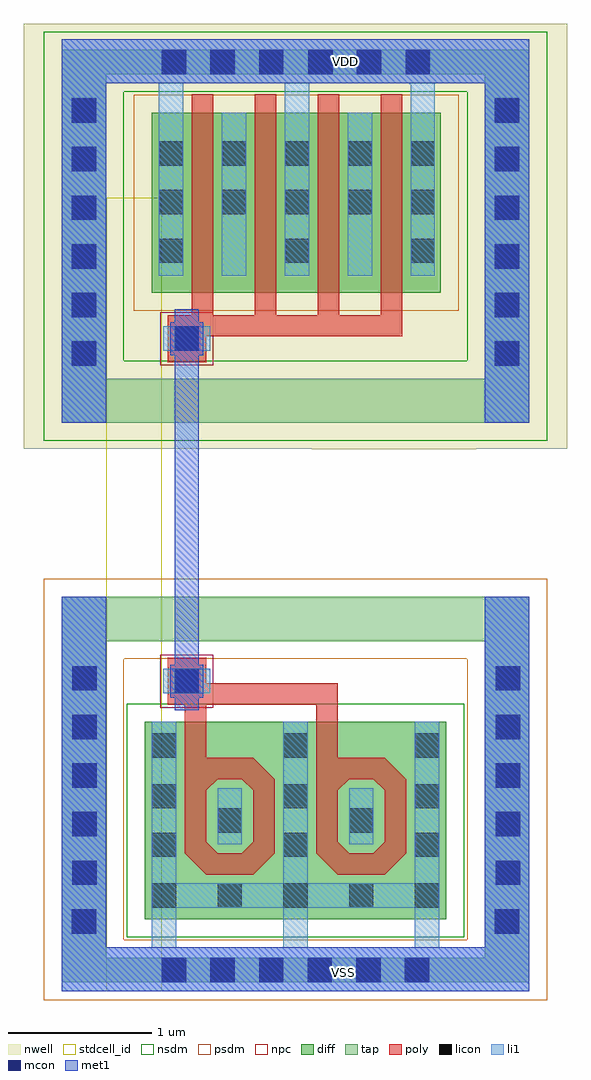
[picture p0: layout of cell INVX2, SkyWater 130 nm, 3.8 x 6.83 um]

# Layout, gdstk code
from math import pi, radians
import gdstk
lib = gdstk.Library(unit=1e-6, precision=1e-09)
def R(c, l, rs):  # rectangles x0, y0, x1, y1
    for r in rs: c.add(gdstk.rectangle(r[:2], r[2:], *l))
def A(c, l, x, y, w, h, nx, ny, dx, dy):  # array of equal rectangles
    R(c, l, [(x+i*dx, y+j*dy, x+i*dx+w, y+j*dy+h) for i in range(nx) for j in range(ny)])
def P(c, l, *ps):  # polygons
    for p in ps: c.add(gdstk.Polygon(p, *l))
nwell = (64, 20)
diff = (65, 20)
tap = (65, 44)
poly = (66, 20)
licon = (66, 44)
li1 = (67, 20)
mcon = (67, 44)
met1 = (68, 20)
stdcell_id = (81, 4)
nsdm = (93, 44)
psdm = (94, 20)
npc = (95, 20)

m1_m2_contact = lib.new_cell('M1_M2_contact')
R(m1_m2_contact, poly, [(0.35,1.995,0.62,2.325)])
R(m1_m2_contact, licon, [(0.4,2.075,0.57,2.245)])
R(m1_m2_contact, li1, [(0.32,2.075,0.65,2.245)])
R(m1_m2_contact, mcon, [(0.4,2.075,0.57,2.245)])
R(m1_m2_contact, met1, [(0.4,1.955,0.57,2.045), (0.37,2.045,0.6,2.275), (0.4,2.275,0.57,2.365)])
R(m1_m2_contact, npc, [(0.3,1.975,0.67,2.345)])

nmos_top_left = lib.new_cell('nmos_top_left')
R(nmos_top_left, diff, [(-0.225,-0.32,0.965,1.06)])
R(nmos_top_left, poly, [(0.205,-0.01,0.535,0.14), (0.055,0.14,0.205,0.66), (0.535,0.14,0.685,0.66), (0.055,0.66,0.535,0.81), (0.055,0.81,0.205,1.19)])
P(nmos_top_left, poly, [(0.535,0.81),(0.535,0.66),(0.685,0.66)],
  [(0.205,0.58),(0.205,0.66),(0.285,0.66)],
  [(0.455,0.66),(0.535,0.66),(0.535,0.58)],
  [(0.205,0.22),(0.205,0.14),(0.285,0.14)],
  [(0.455,0.14),(0.535,0.14),(0.535,0.22)],
  [(0.055,0.14),(0.205,0.14),(0.205,-0.01)],
  [(0.535,-0.01),(0.535,0.14),(0.685,0.14)])
A(nmos_top_left, licon, -0.175, -0.24, 0.17, 0.17, 3, 1, 0.46, 0)
R(nmos_top_left, licon, [(-0.175,0.115,-0.005,0.285), (0.745,0.115,0.915,0.285), (0.285,0.285,0.455,0.455), (-0.175,0.455,-0.005,0.625), (0.745,0.455,0.915,0.625), (-0.175,0.81,-0.005,0.98), (0.745,0.81,0.915,0.98)])
R(nmos_top_left, li1, [(-0.175,-0.32,-0.005,-0.24), (0.745,-0.32,0.915,-0.24), (-0.175,-0.24,0.915,-0.07), (-0.175,-0.07,-0.005,1.06), (0.745,-0.07,0.915,1.06), (0.285,0.205,0.455,0.595)])
R(nmos_top_left, nsdm, [(-0.35,-0.445,1.09,1.185)])

pmos = lib.new_cell('pmos')
R(pmos, nwell, [(-0.18,-1.435,1.32,0.185)])
R(pmos, diff, [(0,-1.255,1.14,0.005)])
R(pmos, poly, [(0.28,-1.56,0.87,-1.41), (0.28,-1.41,0.43,0.135), (0.72,-1.41,0.87,0.135)])
A(pmos, licon, 0.05, -0.705, 0.17, 0.17, 3, 2, 0.44, 0.34)
R(pmos, licon, [(0.05,-1.045,0.22,-0.875), (0.93,-1.045,1.1,-0.875)])
R(pmos, li1, [(0.05,-1.135,0.22,0.21), (0.49,-1.135,0.66,0.005), (0.93,-1.135,1.1,0.21)])
R(pmos, psdm, [(-0.125,-1.38,1.265,0.13)])

diff_ring_side = lib.new_cell('diff_ring_side')
R(diff_ring_side, nwell, [(-0.795,3.795,0.045,6.765)])
R(diff_ring_side, tap, [(-0.53,0.065,-0.22,2.76), (-0.53,3.975,-0.22,6.585)])
A(diff_ring_side, licon, -0.455, 0.745, 0.17, 0.17, 1, 5, 0, 0.34)
A(diff_ring_side, licon, -0.46, 4.375, 0.17, 0.17, 1, 6, 0, 0.34)
R(diff_ring_side, licon, [(-0.46,0.405,-0.29,0.575)])
R(diff_ring_side, li1, [(-0.53,0,-0.22,2.76), (-0.53,3.975,-0.22,6.66)])
A(diff_ring_side, mcon, -0.455, 0.745, 0.17, 0.17, 1, 5, 0, 0.34)
A(diff_ring_side, mcon, -0.46, 4.375, 0.17, 0.17, 1, 6, 0, 0.34)
R(diff_ring_side, mcon, [(-0.46,0.405,-0.29,0.575)])
R(diff_ring_side, met1, [(-0.53,0,-0.22,2.76), (-0.53,3.975,-0.22,6.66)])
R(diff_ring_side, nsdm, [(-0.655,3.85,-0.095,6.71)])
R(diff_ring_side, psdm, [(-0.655,-0.06,-0.095,2.885)])

invx2 = lib.new_cell('INVX2')
R(invx2, nwell, [(1.17,3.79,2.32,3.795), (-0.75,3.795,2.79,5.275), (1.17,5.275,2.32,6.225), (-0.19,6.225,2.32,6.35), (2.68,6.325,2.845,6.35), (-0.27,6.35,2.845,6.39), (-0.58,6.39,2.845,6.66), (-0.19,6.66,2.32,6.72), (2.68,6.66,2.845,6.67), (-0.18,6.72,2.32,6.765)])
R(invx2, tap, [(-0.27,0.065,2.38,0.235), (-0.58,2.45,2.38,2.76), (-0.58,3.975,2.67,4.285), (-0.345,6.415,2.515,6.585)])
R(invx2, poly, [(0.43,2.005,1.35,2.155), (0.92,4.58,1.21,4.73)])
A(invx2, licon, 0.12, 0.065, 0.17, 0.17, 6, 1, 0.34, 0)
A(invx2, licon, 0.12, 6.415, 0.17, 0.17, 3, 1, 0.34, 0)
A(invx2, licon, 1.145, 6.415, 0.17, 0.17, 3, 1, 0.34, 0)
A(invx2, li1, 0.05, 0.31, 0.17, 0.195, 3, 1, 0.92, 0)
R(invx2, li1, [(-0.27,0,2.38,0.31), (1.85,6.345,2.02,6.35), (-0.27,6.35,2.68,6.39), (-0.58,6.39,2.68,6.66)])
A(invx2, mcon, 0.12, 0.065, 0.17, 0.17, 6, 1, 0.34, 0)
A(invx2, mcon, 0.12, 6.415, 0.17, 0.17, 3, 1, 0.34, 0)
A(invx2, mcon, 1.145, 6.415, 0.17, 0.17, 3, 1, 0.34, 0)
R(invx2, met1, [(-0.27,0,2.38,0.31), (0.21,2.31,0.38,4.38), (-0.27,6.35,2.68,6.39), (-0.58,6.39,2.68,6.66)])
R(invx2, stdcell_id, [(-0.27,0,0.12,5.55)])
R(invx2, nsdm, [(-0.705,3.85,2.795,4.41), (-0.47,6.29,2.64,6.71)])
R(invx2, psdm, [(-0.395,-0.06,2.505,0.36), (-0.705,2.325,2.505,2.885)])
invx2.add(gdstk.Reference(m1_m2_contact, (-0.19,2.405)))
invx2.add(gdstk.Reference(m1_m2_contact, (0.78,4.33), rotation=pi))
invx2.add(gdstk.Reference(nmos_top_left, (1.145,0.825)))
invx2.add(gdstk.Reference(nmos_top_left, (0.225,0.825)))
invx2.add(gdstk.Reference(pmos, (0.93,6.14)))
invx2.add(gdstk.Reference(pmos, (0.05,6.14)))
invx2.add(gdstk.Reference(diff_ring_side, (-0.05,0)))
invx2.add(gdstk.Reference(diff_ring_side, (2.91,0)))
invx2.add(gdstk.Label('VSS', (1.39,0.13), layer=68, texttype=5))
invx2.add(gdstk.Label('VDD', (1.405,6.505), layer=68, texttype=5))

lib.write_gds('INVX2.gds')
